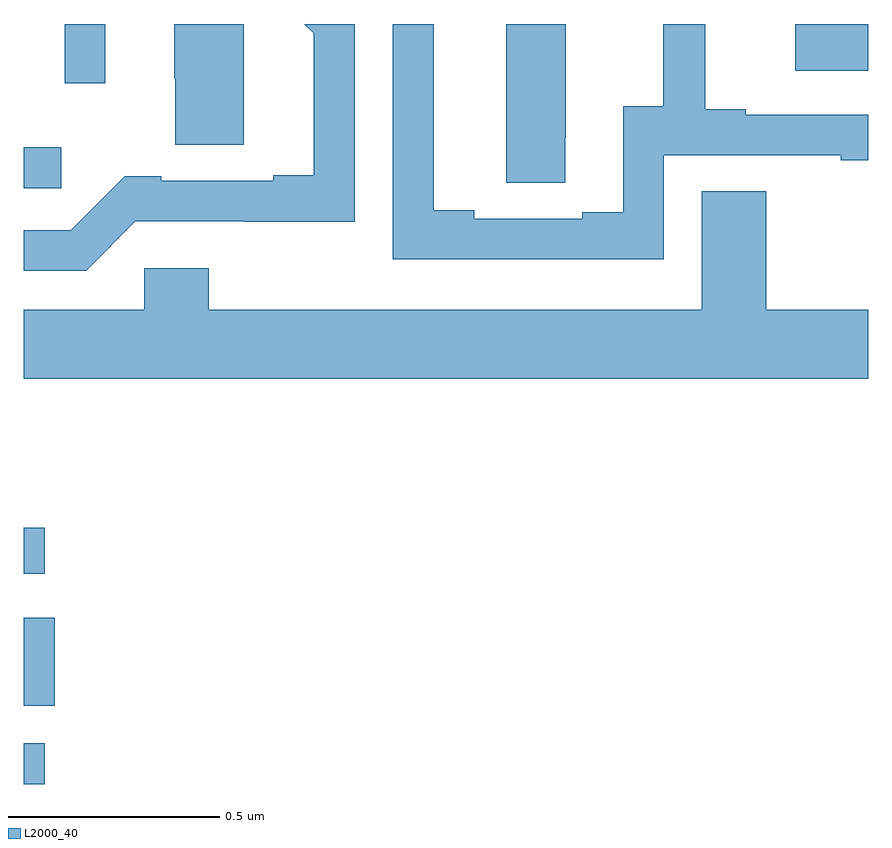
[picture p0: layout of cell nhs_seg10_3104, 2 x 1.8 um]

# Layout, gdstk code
import gdstk
lib = gdstk.Library(unit=1e-6, precision=1e-09)
def R(c, l, rs):  # rectangles x0, y0, x1, y1
    for r in rs: c.add(gdstk.rectangle(r[:2], r[2:], *l))
def P(c, l, *ps):  # polygons
    for p in ps: c.add(gdstk.Polygon(p, *l))
L2000_40 = (2000, 40)

nhs_seg10_3104 = lib.new_cell('nhs_seg10_3104')
R(nhs_seg10_3104, L2000_40, [(149,1288.701,149.05,1288.797), (149,1288.886,149.074,1289.095), (149,1289.199,149.05,1289.308), (149,1290.111,149.089,1290.208), (149.097,1290.36,149.194,1290.5), (150.827,1290.389,151,1290.5)])
P(nhs_seg10_3104, L2000_40, [(150.282,1290.232),(150.283,1290.232),(150.283,1290.5),(150.143,1290.5),(150.143,1290.124),(150.282,1290.124)],
  [(150.516,1290.189),(150.935,1290.189),(150.935,1290.177),(151,1290.177),(151,1290.285),(150.709,1290.285),(150.709,1290.298),(150.614,1290.298),(150.614,1290.5),(150.514,1290.5),(150.514,1290.305),(150.419,1290.305),(150.419,1290.054),(150.323,1290.054),(150.323,1290.039),(150.067,1290.039),(150.067,1290.059),(149.971,1290.059),(149.971,1290.5),(149.874,1290.5),(149.874,1289.943),(150.516,1289.943)],
  [(149.265,1290.033),(149.521,1290.033),(149.521,1290.032),(149.784,1290.032),(149.784,1290.5),(149.665,1290.5),(149.687,1290.478),(149.687,1290.142),(149.591,1290.142),(149.591,1290.129),(149.326,1290.129),(149.326,1290.14),(149.24,1290.14),(149.112,1290.012),(149,1290.012),(149,1289.916),(149.148,1289.916)],
  [(149.521,1290.5),(149.357,1290.5),(149.357,1290.372),(149.359,1290.372),(149.359,1290.214),(149.521,1290.214)],
  [(151,1289.824),(150.758,1289.824),(150.758,1290.104),(150.605,1290.104),(150.605,1289.824),(149.438,1289.824),(149.438,1289.922),(149.286,1289.922),(149.286,1289.824),(149,1289.824),(149,1289.66),(151,1289.66)])

lib.write_gds('nhs_seg10_3104.gds')
